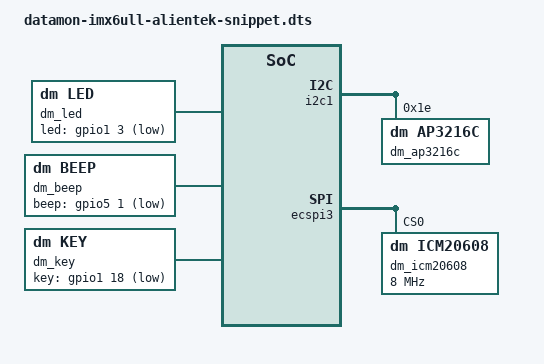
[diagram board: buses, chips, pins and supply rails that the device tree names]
/*
 * Merge this snippet into the board DTS, for example:
 *
 *   linux-imx-4.1.15-2.1.0-e48931b1-v2.8/arch/arm/boot/dts/
 *   imx6ull-alientek-emmc.dts or imx6ull-alientek-nand.dts
 *
 * The GPIO numbers below match common ALIENTEK i.MX6ULL examples:
 *   LED:  GPIO1_IO03, active low
 *   BEEP: GPIO5_IO01, active low
 *   KEY:  GPIO1_IO18, active low
 *
 * If your board schematic differs, change these GPIOs and pinctrl groups.
 */

/ {
	/*
	 * The stock ALIENTEK DTS already owns LED and BEEP through gpio-leds.
	 * Delete it before adding project-specific character-device nodes,
	 * otherwise gpio_request() will fail with -EBUSY.
	 */
	/delete-node/ leds;

	dm_led {
		compatible = "dm,led";
		pinctrl-names = "default";
		pinctrl-0 = <&pinctrl_gpio_leds>;
		led-gpio = <&gpio1 3 GPIO_ACTIVE_LOW>;
		status = "okay";
	};

	dm_beep {
		compatible = "dm,beep";
		pinctrl-names = "default";
		pinctrl-0 = <&pinctrl_beep>;
		beep-gpio = <&gpio5 1 GPIO_ACTIVE_LOW>;
		status = "okay";
	};

	dm_key {
		compatible = "dm,key";
		pinctrl-names = "default";
		pinctrl-0 = <&pinctrl_gpio_keys>;
		key-gpio = <&gpio1 18 GPIO_ACTIVE_LOW>;
		status = "okay";
	};
};

/*
 * The stock DTS usually has a gpio_keys label using GPIO1_IO18. Disable it
 * before dm_key requests the same GPIO.
 */
&gpio_keys {
	status = "disabled";
};

/*
 * AP3216C normally sits on I2C1 at 0x1e in the ALIENTEK DTS.
 * Delete the stock node before creating the project node at the same address.
 */
&i2c1 {
	status = "okay";

	/delete-node/ ap3216c@1e;

	dm_ap3216c@1e {
		compatible = "dm,ap3216c";
		reg = <0x1e>;
		status = "okay";
	};
};

/*
 * ICM20608 normally sits on ECSPI3 CS0 in the ALIENTEK DTS.
 * Make sure the controller pinctrl and chip-select match your board file.
 */
&ecspi3 {
	status = "okay";

	/delete-node/ icm20608@0;

	dm_icm20608@0 {
		compatible = "dm,icm20608";
		reg = <0>;
		spi-max-frequency = <8000000>;
		status = "okay";
	};
};
